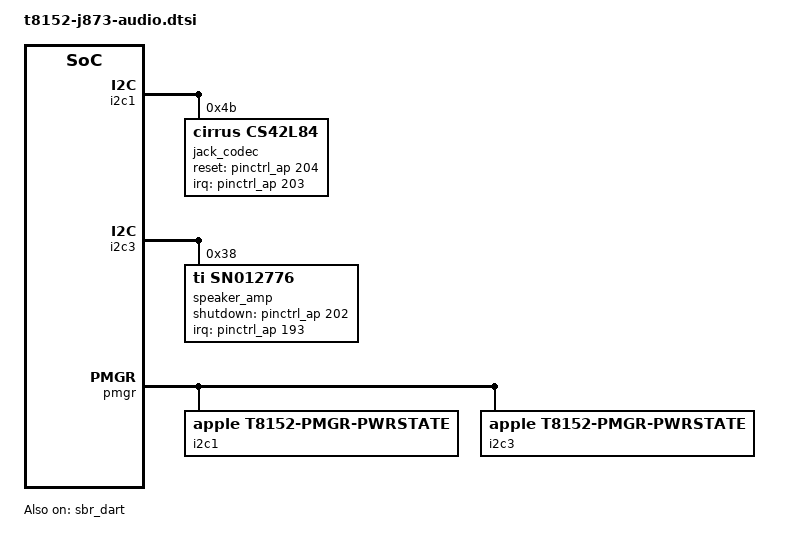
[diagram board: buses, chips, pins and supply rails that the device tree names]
// SPDX-License-Identifier: GPL-2.0+ OR MIT
/*
 * J873g audio: the AOP (always-on processor) owns the audio fabric, as
 * on T8140. iBoot loads the AOP firmware (j873gaop) and leaves the CPU
 * stopped; Linux starts it. The jack codec (CS42L84) and the speaker amp
 * (SN012776) are on AP I2C buses; their data goes through AOP services on
 * the base-ns ADMAC. Resources are from the 26A434 ADT: aop, dart-sbr,
 * admac-base-ns, iop-audio-controller, i2c1, i2c3, pmgr.
 */
#include <dt-bindings/gpio/gpio.h>

/*
 * ADT dart-sbr (sbr_dart in t8152-peripherals.dtsi), shared with the PMP:
 * mapper-aop 0, mapper-admac-base-ns 42. iBoot leaves streams 0, 1 and 42
 * translating (root slot 16 owned by the firmware) without setting the
 * lock bit.
 */
&sbr_dart {
	apple,retain-translation;
	status = "okay";
};

/ {
	soc {
		/*
		 * ADT aop: iop,ascwrap-v8, msgbox-mailbox-num 0, using-alias,
		 * not post-office: mailbox 0, aperture 1 of the bank at reg[2]
		 * (0x310740000) = 0x310740080. ADT interrupts [627, 626, 628];
		 * the first two in the SMC order (send-empty, recv-not-empty).
		 */
		aop_mbox: mailbox@310740080 {
			compatible = "apple,t8152-ascwrap-v8-mailbox";
			reg = <0x3 0x10740080 0x0 0x80>;
			interrupts = <AIC_IRQ 627 IRQ_TYPE_LEVEL_HIGH>,
				     <AIC_IRQ 626 IRQ_TYPE_LEVEL_HIGH>;
			interrupt-names = "send-empty", "recv-not-empty";
			#mbox-cells = <0>;
		};

		/*
		 * ADT admac-base-ns (admac-evolution,t8152): 13 TX and 13 RX
		 * channels, interrupt destination 0, dart-sbr stream 42.
		 */
		admac_base_ns: dma-controller@313900000 {
			compatible = "apple,t8152-admac";
			reg = <0x3 0x13900000 0x0 0xb4000>;
			dma-channels = <26>;
			interrupts-extended = <&aic AIC_IRQ 640 IRQ_TYPE_LEVEL_HIGH>,
					      <0>, <0>, <0>;
			#dma-cells = <1>;
			iommus = <&sbr_dart 42>;
			/* slot 17: slot 16 of stream 42 belongs to the firmware */
			apple,dma-range = <0x110 0x0 0x0 0x10000000>;
		};

		/*
		 * The AOP's PMGR (ADT pmgr devices AUDIO_MCA0_M..AUDIO_MCA5_M at
		 * 0x308284400 + 0x20 * N). Their parent audio_p is the
		 * firmware's: it is up while a service is in pw0 or pwrd.
		 */
		pmgr_aop: power-management@308284000 {
			compatible = "apple,t8152-pmgr", "apple,t8103-pmgr",
				     "syscon", "simple-mfd";
			#address-cells = <1>;
			#size-cells = <1>;
			reg = <0x3 0x08284000 0x0 0x1000>;

			ps_audio_mca0_m: power-controller@400 {
				compatible = "apple,t8152-pmgr-pwrstate",
					     "apple,t8103-pmgr-pwrstate";
				reg = <0x400 4>;
				#power-domain-cells = <0>;
				#reset-cells = <0>;
				label = "audio_mca0_m";
			};

			ps_audio_mca1_m: power-controller@420 {
				compatible = "apple,t8152-pmgr-pwrstate",
					     "apple,t8103-pmgr-pwrstate";
				reg = <0x420 4>;
				#power-domain-cells = <0>;
				#reset-cells = <0>;
				label = "audio_mca1_m";
			};

			ps_audio_mca2_m: power-controller@440 {
				compatible = "apple,t8152-pmgr-pwrstate",
					     "apple,t8103-pmgr-pwrstate";
				reg = <0x440 4>;
				#power-domain-cells = <0>;
				#reset-cells = <0>;
				label = "audio_mca2_m";
			};

			ps_audio_mca3_m: power-controller@460 {
				compatible = "apple,t8152-pmgr-pwrstate",
					     "apple,t8103-pmgr-pwrstate";
				reg = <0x460 4>;
				#power-domain-cells = <0>;
				#reset-cells = <0>;
				label = "audio_mca3_m";
			};

			ps_audio_mca4_m: power-controller@480 {
				compatible = "apple,t8152-pmgr-pwrstate",
					     "apple,t8103-pmgr-pwrstate";
				reg = <0x480 4>;
				#power-domain-cells = <0>;
				#reset-cells = <0>;
				label = "audio_mca4_m";
			};

			ps_audio_mca5_m: power-controller@4a0 {
				compatible = "apple,t8152-pmgr-pwrstate",
					     "apple,t8103-pmgr-pwrstate";
				reg = <0x4a0 4>;
				#power-domain-cells = <0>;
				#reset-cells = <0>;
				label = "audio_mca5_m";
			};
		};

		/* ADT i2c1: the CS42L84 jack codec (and the aqc NIC's EEPROM). */
		i2c1: i2c@331014000 {
			compatible = "apple,t8152-i2c", "apple,t8103-i2c";
			reg = <0x3 0x31014000 0x0 0x4000>;
			clocks = <&clkref>;
			interrupts = <AIC_IRQ 1414 IRQ_TYPE_LEVEL_HIGH>;
			#address-cells = <1>;
			#size-cells = <0>;
			power-domains = <&ps_i2c1>;

			/*
			 * ADT audio-codec-output: function-reset GPIO 0xcc,
			 * interrupt on gpio0 pin 203.
			 */
			jack_codec: codec@4b {
				compatible = "cirrus,cs42l84";
				reg = <0x4b>;
				reset-gpios = <&pinctrl_ap 204 GPIO_ACTIVE_HIGH>;
				interrupts-extended = <&pinctrl_ap 203 IRQ_TYPE_LEVEL_LOW>;
				#sound-dai-cells = <0>;
				sound-name-prefix = "Jack";
			};
		};

		/* ADT i2c3: the SN012776 speaker amplifier. */
		i2c3: i2c@33101c000 {
			compatible = "apple,t8152-i2c", "apple,t8103-i2c";
			reg = <0x3 0x3101c000 0x0 0x4000>;
			clocks = <&clkref>;
			interrupts = <AIC_IRQ 1416 IRQ_TYPE_LEVEL_HIGH>;
			#address-cells = <1>;
			#size-cells = <0>;
			power-domains = <&ps_i2c3>;

			/*
			 * ADT audio-speaker: function-reset GPIO 0xca, interrupt
			 * on gpio0 pin 193, speaker-config rx_slot 0,
			 * vsense_slot 0, isense_slot 2.
			 */
			speaker_amp: codec@38 {
				compatible = "ti,sn012776", "ti,tas2764";
				reg = <0x38>;
				shutdown-gpios = <&pinctrl_ap 202 GPIO_ACTIVE_HIGH>;
				interrupts-extended = <&pinctrl_ap 193 IRQ_TYPE_LEVEL_LOW>;
				#sound-dai-cells = <0>;
				ti,imon-slot-no = <2>;
				ti,vmon-slot-no = <0>;
				/* the AOP's speaker frame: 250 BCLKs at 12 MHz */
				ti,bclk-ratio = <250>;
			};
		};

		aop: aop@310c00000 {
			compatible = "apple,t8152-aop";
			reg = <0x3 0x10c00000 0x0 0x1e0000>,
			      <0x3 0x10600000 0x0 0x4000>;
			reg-names = "mmio", "asc";
			mboxes = <&aop_mbox>;
			mbox-names = "mbox";
			iommus = <&sbr_dart 0>;
			/* slot 17: slot 16 belongs to the firmware */
			apple,dma-range = <0x110 0x0 0x10 0x0>;

			/*
			 * Bound by name to the firmware's "audio" EPIC service.
			 * ADT iop-audio-controller: cout/cin on base-ns TX5/RX5,
			 * spkr on TX1 with its sense data on RX1; Linux ADMAC
			 * channel = 2 * N for TX N, 2 * N + 1 for RX N.
			 */
			aop_audio: audio {
				compatible = "apple,t8152-aop-audio";
				dmas = <&admac_base_ns 10>, <&admac_base_ns 11>,
				       <&admac_base_ns 2>, <&admac_base_ns 3>;
				dma-names = "cout", "cin", "spkr", "sense";
				power-domains = <&ps_audio_mca0_m>, <&ps_audio_mca1_m>,
						<&ps_audio_mca2_m>, <&ps_audio_mca3_m>,
						<&ps_audio_mca4_m>, <&ps_audio_mca5_m>;
				power-domain-names = "mca0", "mca1", "mca2",
						     "mca3", "mca4", "mca5";
				#sound-dai-cells = <1>;
			};
		};
	};

	sound {
		compatible = "apple,j873-macaudio", "apple,macaudio";
		model = "Mac mini J873";
		#address-cells = <1>;
		#size-cells = <0>;

		dai-link@0 {
			reg = <0>;
			link-name = "Headphone Jack";

			cpu {
				sound-dai = <&aop_audio 0>;
			};
			codec {
				sound-dai = <&jack_codec>;
			};
		};

		dai-link@1 {
			reg = <1>;
			link-name = "Speaker";

			cpu {
				sound-dai = <&aop_audio 3>;
			};
			codec {
				sound-dai = <&speaker_amp>;
			};
		};
	};
};

/* The I2C power states (PMGR, parent SIO_CPU is always on). */
&pmgr {
	ps_i2c1: power-controller@cc0 {
		compatible = "apple,t8152-pmgr-pwrstate",
			     "apple,t8103-pmgr-pwrstate";
		reg = <0xcc0 4>;
		#power-domain-cells = <0>;
		#reset-cells = <0>;
		label = "i2c1";
	};

	ps_i2c3: power-controller@d00 {
		compatible = "apple,t8152-pmgr-pwrstate",
			     "apple,t8103-pmgr-pwrstate";
		reg = <0xd00 4>;
		#power-domain-cells = <0>;
		#reset-cells = <0>;
		label = "i2c3";
	};
};
